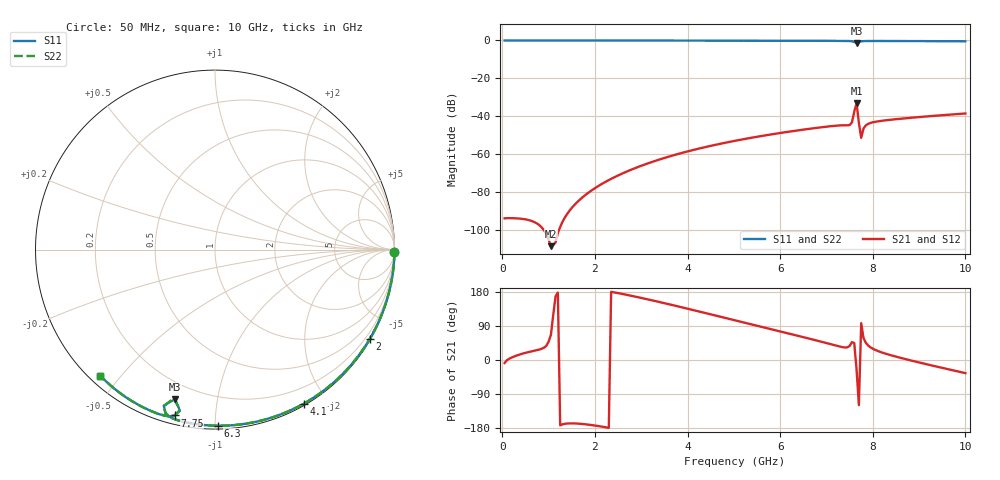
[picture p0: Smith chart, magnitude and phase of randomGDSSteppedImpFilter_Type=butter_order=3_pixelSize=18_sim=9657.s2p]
! freq	dB(S11)	phase(S11)	dB(S12)	phase(S12)
!  dB(S21)	phase(S21)	dB(S22)	phase(S22)
!S-par simulation data
#  GHz  S  DB  R 50
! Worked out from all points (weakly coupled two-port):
!   200 points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, 50 MHz to 10 GHz, reference 50 ohm
!   highest |S21| = -33.09 dB at 7.65 GHz (marker M1); lowest = -108.8 dB at 1.05 GHz (marker M2)
!   lowest |S11| = -1.3 dB at 7.65 GHz (marker M3), VSWR 13.47, Z = 5.88 - j38.1 ohm
!   |S11| at or under -10 dB: nowhere
!   |S22| runs from -1.3 to 0.0 dB; largest |S21 - S12| = 0
!   S11 on the Smith chart (normalised r, x): 50 MHz: open; 2 GHz: 0.03, -3.72; 4.1 GHz: 0.02, -1.73; 6.3 GHz: 0.02, -1.02; 7.75 GHz: 0.04, -0.79; 10 GHz: 0.03, -0.44
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0.05  -0.00 -0.8  -94.07 -7.9  -94.07 -7.9  -0.00 -0.8
1.05  -0.02 -16.0  -108.78 66.2  -108.78 66.2  -0.02 -16.0
1.75  -0.03 -26.4  -82.58 -169.1  -82.58 -169.1  -0.03 -26.4
1.9  -0.04 -28.6  -79.78 -171.2  -79.78 -171.2  -0.04 -28.6
2  -0.04 -30.1  -78.12 -172.9  -78.12 -172.9  -0.04 -30.1
2.65  -0.05 -39.6  -69.71 172.9  -69.71 172.9  -0.05 -39.6
3.4  -0.07 -50.3  -62.89 152.8  -62.89 152.8  -0.07 -50.3
4.1  -0.08 -60.0  -58.05 132.5  -58.05 132.5  -0.08 -60.0
5.05  -0.11 -72.8  -52.94 104.0  -52.94 104.0  -0.11 -72.8
6.3  -0.16 -89.0  -47.83 66.4  -47.83 66.4  -0.16 -89.0
6.7  -0.18 -94.0  -46.49 54.2  -46.49 54.2  -0.18 -94.0
7.5  -0.32 -105.5  -44.75 37.0  -44.75 37.0  -0.32 -105.4
7.55  -0.43 -106.8  -43.36 47.0  -43.36 47.0  -0.42 -106.8
7.6  -0.77 -108.2  -37.65 44.9  -37.65 44.9  -0.73 -108.2
7.65  -1.29 -105.0  -33.09 -25.1  -33.09 -25.1  -1.30 -105.6
7.7  -0.74 -102.3  -43.58 -119.1  -43.58 -119.1  -0.79 -102.2
7.75  -0.44 -103.7  -51.49 97.3  -51.49 97.3  -0.45 -103.6
7.8  -0.35 -105.0  -46.54 57.9  -46.54 57.9  -0.35 -104.9
7.85  -0.31 -106.0  -44.89 45.3  -44.89 45.3  -0.31 -106.0
7.9  -0.29 -106.9  -44.09 38.3  -44.09 38.3  -0.30 -106.8
8.35  -0.29 -113.0  -42.02 14.0  -42.02 14.0  -0.29 -113.0
10  -0.45 -132.3  -38.62 -34.6  -38.62 -34.6  -0.45 -132.3
